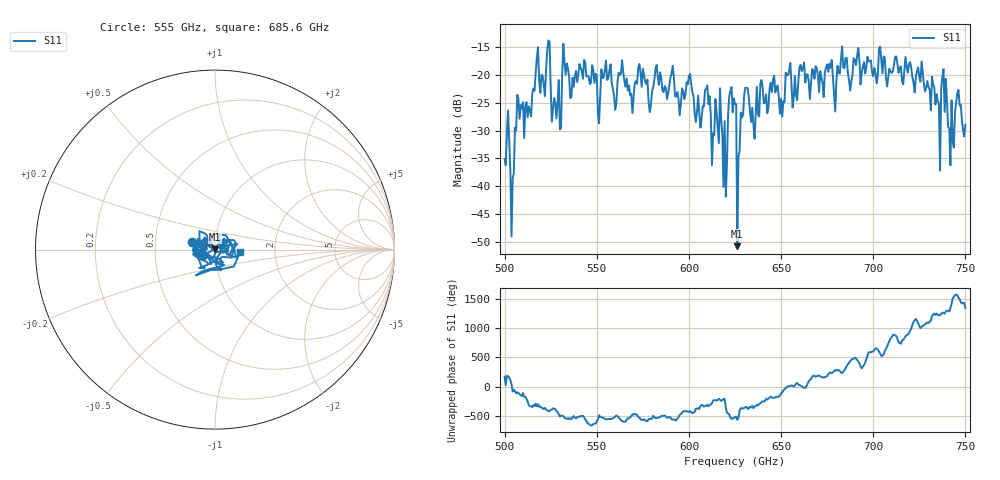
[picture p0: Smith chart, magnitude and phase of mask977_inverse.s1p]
!Created with skrf (http://scikit-rf.org).
# GHz S MA R 50.0
!freq magS11 angS11
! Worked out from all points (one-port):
!   401 points, 500 GHz to 750 GHz, reference 50 ohm
!   lowest |S11| = -50.7 dB at 626.2 GHz (marker M1), VSWR 1.01, Z = 49.7 + j0.133 ohm
!   |S11| at or under -10 dB: start of sweep to end of sweep
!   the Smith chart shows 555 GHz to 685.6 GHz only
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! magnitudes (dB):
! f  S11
! 500 GHz  -35.1
! 504.4 GHz  -38.6
! 506.9 GHz  -23.6
! 513.8 GHz  -26.5
! 517.5 GHz  -16.9
! 523.8 GHz  -13.9
! 526.9 GHz  -24.2
! 531.2 GHz  -19.8
! 533.1 GHz  -20.0
! 550.6 GHz  -26.9
! 562.5 GHz  -20.1
! 593.8 GHz  -23.1
! 610 GHz  -21.9
! 618.1 GHz  -30.4
! 619.4 GHz  -28.3
! 623.1 GHz  -22.2
! 625 GHz  -25.3
! 626.2 GHz  -50.7
! 631.2 GHz  -22.4
! 635 GHz  -29.0
! 656.2 GHz  -25.9
! 687.5 GHz  -22.8
! 718.8 GHz  -19.6
! 735 GHz  -24.8
! 738.1 GHz  -19.0
! 742.5 GHz  -24.6
! 746.2 GHz  -22.7
! 750 GHz  -29.0
